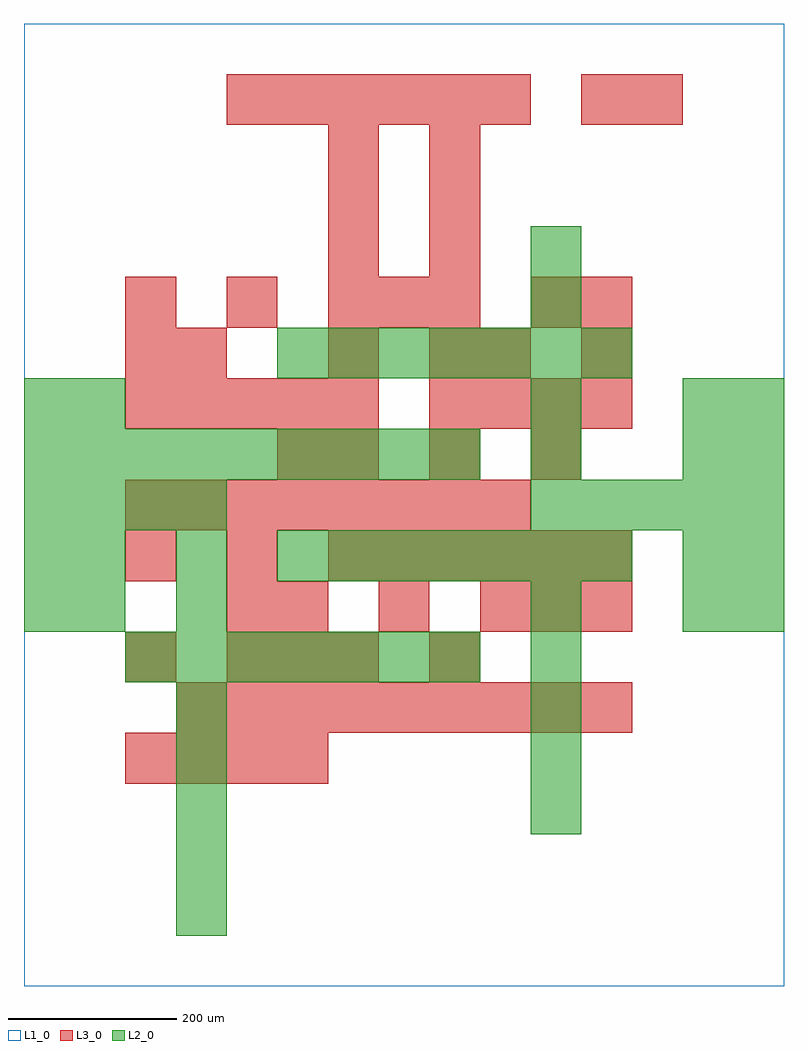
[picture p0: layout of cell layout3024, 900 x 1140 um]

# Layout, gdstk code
import gdstk
lib = gdstk.Library(unit=1e-6, precision=1e-09)
def R(c, l, rs):  # rectangles x0, y0, x1, y1
    for r in rs: c.add(gdstk.rectangle(r[:2], r[2:], *l))
def A(c, l, x, y, w, h, nx, ny, dx, dy):  # array of equal rectangles
    R(c, l, [(x+i*dx, y+j*dy, x+i*dx+w, y+j*dy+h) for i in range(nx) for j in range(ny)])
L1_0 = (1, 0)
L2_0 = (2, 0)
L3_0 = (3, 0)

layout3024 = lib.new_cell('layout3024')
R(layout3024, L1_0, [(0,0,900,1140)])
A(layout3024, L2_0, 180, 60, 60, 60, 1, 5, 0, 60)
A(layout3024, L2_0, 600, 180, 60, 60, 1, 5, 0, 60)
A(layout3024, L2_0, 120, 360, 60, 60, 7, 1, 60, 0)
A(layout3024, L2_0, 60, 480, 60, 60, 3, 1, 120, 0)
A(layout3024, L2_0, 360, 480, 60, 60, 6, 1, 60, 0)
A(layout3024, L2_0, 0, 540, 60, 60, 4, 1, 60, 0)
A(layout3024, L2_0, 600, 540, 60, 60, 5, 1, 60, 0)
A(layout3024, L2_0, 0, 600, 60, 60, 9, 1, 60, 0)
A(layout3024, L2_0, 300, 720, 60, 60, 7, 1, 60, 0)
R(layout3024, L2_0, [(0,420,60,480), (60,420,120,480), (180,420,240,480), (780,420,840,480), (840,420,900,480), (0,480,60,540), (780,480,840,540), (840,480,900,540), (600,600,660,660), (780,600,840,660), (840,600,900,660), (0,660,60,720), (60,660,120,720), (600,660,660,720), (780,660,840,720), (840,660,900,720), (600,780,660,840), (600,840,660,900)])
A(layout3024, L3_0, 120, 240, 60, 60, 4, 1, 60, 0)
A(layout3024, L3_0, 180, 300, 60, 60, 9, 1, 60, 0)
A(layout3024, L3_0, 240, 360, 60, 60, 3, 1, 60, 0)
A(layout3024, L3_0, 300, 420, 60, 60, 3, 1, 120, 0)
A(layout3024, L3_0, 120, 480, 60, 60, 3, 2, 120, 300)
A(layout3024, L3_0, 420, 480, 60, 60, 5, 1, 60, 0)
A(layout3024, L3_0, 120, 540, 60, 60, 8, 1, 60, 0)
A(layout3024, L3_0, 360, 600, 60, 60, 3, 1, 120, 0)
A(layout3024, L3_0, 120, 660, 60, 60, 5, 1, 60, 0)
A(layout3024, L3_0, 480, 660, 60, 60, 4, 1, 60, 0)
A(layout3024, L3_0, 480, 720, 60, 60, 1, 5, 0, 60)
A(layout3024, L3_0, 360, 840, 60, 60, 1, 3, 0, 60)
A(layout3024, L3_0, 240, 1020, 60, 60, 6, 1, 60, 0)
R(layout3024, L3_0, [(120,360,180,420), (480,360,540,420), (240,420,300,480), (600,420,660,480), (660,420,720,480), (300,600,360,660), (120,720,180,780), (180,720,240,780), (360,720,420,780), (540,720,600,780), (660,720,720,780), (420,780,480,840), (600,780,660,840), (660,780,720,840), (660,1020,720,1080), (720,1020,780,1080)])

lib.write_gds('layout3024.gds')
